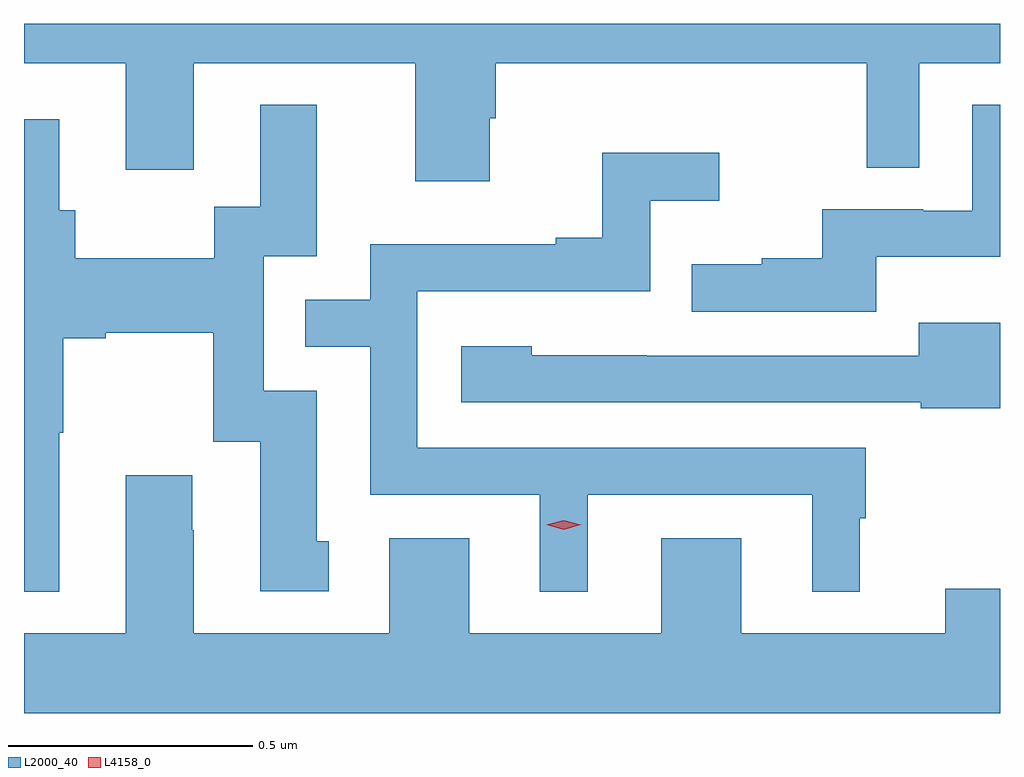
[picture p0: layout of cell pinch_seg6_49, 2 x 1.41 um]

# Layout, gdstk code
import gdstk
lib = gdstk.Library(unit=1e-6, precision=1e-09)
def P(c, l, *ps):  # polygons
    for p in ps: c.add(gdstk.Polygon(p, *l))
L2000_40 = (2000, 40)
L4158_0 = (4158, 0)

pinch_seg6_49 = lib.new_cell('pinch_seg6_49')
P(pinch_seg6_49, L2000_40, [(993.403,939.231),(993.416,939.231),(993.416,939.344),(994.176,939.344),(994.176,939.13),(994.284,939.13),(994.284,939.344),(994.449,939.344),(994.449,939.425),(992.449,939.425),(992.449,939.344),(992.657,939.344),(992.657,939.126),(992.797,939.126),(992.797,939.344),(993.251,939.344),(993.251,939.102),(993.403,939.102)],
  [(992.521,938.587),(992.529,938.587),(992.529,938.78),(992.617,938.78),(992.617,938.792),(992.837,938.792),(992.837,938.568),(992.933,938.568),(992.933,938.262),(993.073,938.262),(993.073,938.364),(993.049,938.364),(993.049,938.673),(992.94,938.673),(992.94,938.949),(993.049,938.949),(993.049,939.259),(992.933,939.259),(992.933,939.05),(992.839,939.05),(992.839,938.944),(992.554,938.944),(992.554,939.043),(992.521,939.043),(992.521,939.229),(992.449,939.229),(992.449,938.261),(992.521,938.261)],
  [(994.195,938.948),(994.449,938.948),(994.449,939.259),(994.392,939.259),(994.392,939.042),(994.292,939.042),(994.292,939.045),(994.085,939.045),(994.085,938.944),(993.961,938.944),(993.961,938.932),(993.817,938.932),(993.817,938.835),(994.195,938.835)],
  [(993.604,938.46),(994.064,938.46),(994.064,938.261),(994.162,938.261),(994.162,938.412),(994.174,938.412),(994.174,938.556),(993.255,938.556),(993.255,938.877),(993.732,938.877),(993.732,939.062),(993.874,939.062),(993.874,939.161),(993.634,939.161),(993.634,938.986),(993.539,938.986),(993.539,938.973),(993.159,938.973),(993.159,938.859),(993.025,938.859),(993.025,938.763),(993.159,938.763),(993.159,938.46),(993.506,938.46),(993.506,938.261),(993.604,938.261)],
  [(994.449,938.812),(994.283,938.812),(994.283,938.745),(993.725,938.745),(993.725,938.746),(993.489,938.746),(993.489,938.764),(993.345,938.764),(993.345,938.649),(994.287,938.649),(994.287,938.637),(994.449,938.637)],
  [(994.449,938.267),(994.337,938.267),(994.337,938.176),(993.919,938.176),(993.919,938.371),(993.755,938.371),(993.755,938.176),(993.361,938.176),(993.361,938.371),(993.197,938.371),(993.197,938.176),(992.797,938.176),(992.797,938.387),(992.794,938.387),(992.794,938.5),(992.657,938.5),(992.657,938.176),(992.449,938.176),(992.449,938.012),(994.449,938.012)])
P(pinch_seg6_49, L4158_0, [(993.555,938.388),(993.519,938.398),(993.519,938.398),(993.519,938.398),(993.555,938.408),(993.59,938.398),(993.591,938.398),(993.59,938.398)])

lib.write_gds('pinch_seg6_49.gds')
